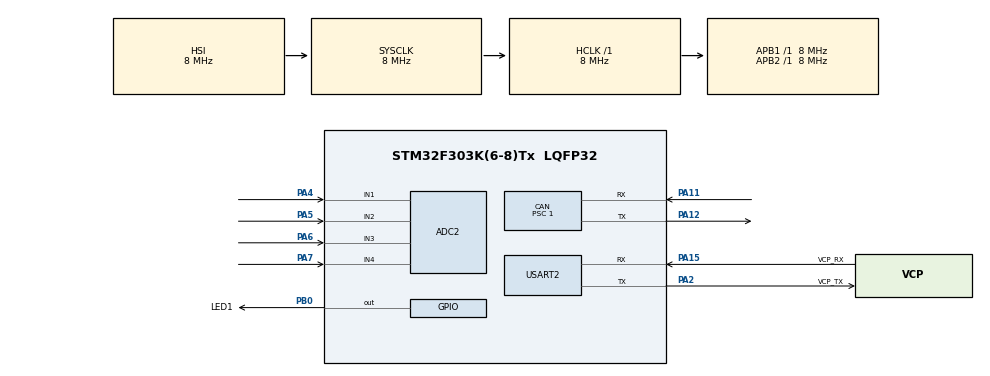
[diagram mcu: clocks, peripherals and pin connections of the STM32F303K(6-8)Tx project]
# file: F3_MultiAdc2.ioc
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ADC2.Channel-0\#ChannelRegularConversion=ADC_CHANNEL_4
ADC2.Channel-1\#ChannelRegularConversion=ADC_CHANNEL_3
ADC2.Channel-2\#ChannelRegularConversion=ADC_CHANNEL_2
ADC2.Channel-3\#ChannelRegularConversion=ADC_CHANNEL_1
ADC2.ClockPrescaler=ADC_CLOCK_SYNC_PCLK_DIV4
ADC2.ContinuousConvMode=ENABLE
ADC2.DMAContinuousRequests=ENABLE
ADC2.EOCSelection=ADC_EOC_SINGLE_CONV
ADC2.NbrOfConversion=4
ADC2.NbrOfConversionFlag=1
ADC2.Offset-0\#ChannelRegularConversion=0
ADC2.Offset-1\#ChannelRegularConversion=0
ADC2.Offset-2\#ChannelRegularConversion=0
ADC2.Offset-3\#ChannelRegularConversion=0
ADC2.OffsetNumber-0\#ChannelRegularConversion=ADC_OFFSET_NONE
ADC2.OffsetNumber-1\#ChannelRegularConversion=ADC_OFFSET_NONE
ADC2.OffsetNumber-2\#ChannelRegularConversion=ADC_OFFSET_NONE
ADC2.OffsetNumber-3\#ChannelRegularConversion=ADC_OFFSET_NONE
ADC2.Rank-0\#ChannelRegularConversion=1
ADC2.Rank-1\#ChannelRegularConversion=2
ADC2.Rank-2\#ChannelRegularConversion=3
ADC2.Rank-3\#ChannelRegularConversion=4
ADC2.SamplingTime-0\#ChannelRegularConversion=ADC_SAMPLETIME_61CYCLES_5
ADC2.SamplingTime-1\#ChannelRegularConversion=ADC_SAMPLETIME_61CYCLES_5
ADC2.SamplingTime-2\#ChannelRegularConversion=ADC_SAMPLETIME_61CYCLES_5
ADC2.SamplingTime-3\#ChannelRegularConversion=ADC_SAMPLETIME_61CYCLES_5
ADC2.SamplingTimeOPAMP-1\#ChannelRegularConversion=ADC_SAMPLETIME_1CYCLE_5
ADC2.SamplingTimeOPAMP-2\#ChannelRegularConversion=ADC_SAMPLETIME_1CYCLE_5
ADC2.SamplingTimeOPAMP-3\#ChannelRegularConversion=ADC_SAMPLETIME_1CYCLE_5
ADC2.SubFamily=STM32F303x8
CAN.BS1=CAN_BS1_11TQ
CAN.BS2=CAN_BS2_4TQ
CAN.CalculateBaudRate=500000
CAN.CalculateTimeBit=2000
CAN.CalculateTimeQuantum=125.0
CAN.Prescaler=1
Dma.ADC2.0.Direction=DMA_PERIPH_TO_MEMORY
Dma.ADC2.0.Instance=DMA1_Channel2
Dma.ADC2.0.MemDataAlignment=DMA_MDATAALIGN_HALFWORD
Dma.ADC2.0.MemInc=DMA_MINC_ENABLE
Dma.ADC2.0.Mode=DMA_CIRCULAR
Dma.ADC2.0.PeriphDataAlignment=DMA_PDATAALIGN_HALFWORD
Dma.ADC2.0.PeriphInc=DMA_PINC_DISABLE
Dma.ADC2.0.Priority=DMA_PRIORITY_LOW
Dma.Request0=ADC2
Mcu.Family=STM32F3
Mcu.Name=STM32F303K(6-8)Tx
Mcu.Package=LQFP32
NVIC.DMA1_Channel2_IRQn=true\:0\:0\:false\:false\:true\:false\:true\:true
NVIC.PriorityGroup=NVIC_PRIORITYGROUP_4
PA11.Mode=CAN_Activate
PA11.Signal=CAN_RX
PA12.Mode=CAN_Activate
PA12.Signal=CAN_TX
PA13.GPIO_Label=SWDIO
PA13.Mode=Serial_Wire
PA13.Signal=SYS_JTMS-SWDIO
PA14.GPIO_Label=SWCLK
PA14.Mode=Serial_Wire
PA14.Signal=SYS_JTCK-SWCLK
PA15.GPIO_Label=VCP_RX
PA15.Mode=Asynchronous
PA15.Signal=USART2_RX
PA2.GPIO_Label=VCP_TX
PA2.Mode=Asynchronous
PA2.Signal=USART2_TX
PA4.Mode=IN1-Single-Ended
PA4.Signal=ADC2_IN1
PA5.Mode=IN2-Single-Ended
PA5.Signal=ADC2_IN2
PA6.Mode=IN3-Single-Ended
PA6.Signal=ADC2_IN3
PA7.Mode=IN4-Single-Ended
PA7.Signal=ADC2_IN4
PB0.GPIO_Label=LED1
PB0.Signal=GPIO_Output
PF0\ /\ OSC_IN.GPIO_Label=MCO
PF0\ /\ OSC_IN.Mode=HSE-External-Clock-Source
PF0\ /\ OSC_IN.Signal=RCC_OSC_IN
ProjectManager.HeapSize=0x200
ProjectManager.StackSize=0x400
ProjectManager.TargetToolchain=STM32CubeIDE
RCC.AHBFreq_Value=8000000
RCC.APB1Freq_Value=8000000
RCC.APB2Freq_Value=8000000
RCC.CortexFreq_Value=8000000
RCC.HSE_VALUE=8000000
RCC.HSI_VALUE=8000000
RCC.SYSCLKFreq_VALUE=8000000
USART2.VirtualMode-Asynchronous=VM_ASYNC
board=NUCLEO-F303K8

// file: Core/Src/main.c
/* USER CODE BEGIN Header */
/**ロボ�??��ス?��?スト基板の可変抵抗�??��値をCANで送ります�??
  ******************************************************************************
  * @file           : main.c
  * @brief          : Main program body
  ******************************************************************************
  * @attention
  *
  * Copyright (c) 2024 STMicroelectronics.
  * All rights reserved.
  *
  * This software is licensed under terms that can be found in the LICENSE file
  * in the root directory of this software component.
  * If no LICENSE file comes with this software, it is provided AS-IS.
  *
  ******************************************************************************
  */
/* USER CODE END Header */
#include "main.h"

/* USER CODE BEGIN PTD */
CAN_TxHeaderTypeDef TxHeader;
/* USER CODE END PTD */

ADC_HandleTypeDef hadc2;
DMA_HandleTypeDef hdma_adc2;

CAN_HandleTypeDef hcan;

UART_HandleTypeDef huart2;

/* USER CODE BEGIN PV */
uint16_t adcvalue[4];
uint32_t TxMailbox;
uint8_t TxData[8];
/* USER CODE END PV */

void SystemClock_Config(void);
static void MX_GPIO_Init(void);
static void MX_DMA_Init(void);
static void MX_USART2_UART_Init(void);
static void MX_ADC2_Init(void);
static void MX_CAN_Init(void);

int main(void)
{

  /* MCU Configuration--------------------------------------------------------*/

  /* Reset of all peripherals, Initializes the Flash interface and the Systick. */
  HAL_Init();

  /* Configure the system clock */
  SystemClock_Config();

  /* Initialize all configured peripherals */
  MX_GPIO_Init();
  MX_DMA_Init();
  MX_USART2_UART_Init();
  MX_ADC2_Init();
  MX_CAN_Init();
  /* USER CODE BEGIN 2 */
  HAL_ADCEx_Calibration_Start(&hadc2, ADC_SINGLE_ENDED);

  uint16_t result[8] = {0};

  HAL_ADC_Start_DMA(&hadc2, (uint32_t *)&result, 4);
  HAL_CAN_Start(&hcan);
  /* USER CODE END 2 */

  /* Infinite loop */
  /* USER CODE BEGIN WHILE */
  while (1)
  {
	  for(int i=0;i<4;i++){
		  adcvalue[i]=result[i];
	  }
	  if(0 < HAL_CAN_GetTxMailboxesFreeLevel(&hcan)){//もしメールボックスに空きがあれば
	      TxHeader.StdId = 0x100;                 // CAN ID
	      TxHeader.RTR = CAN_RTR_DATA;            // フレー??��?��?タイプ�???��?��??��?��?ータフレー??��?��?
	      TxHeader.IDE = CAN_ID_STD;              // 標準ID(11???��?��??��?��??��?��?��???��?��?)
	      TxHeader.DLC = 8;                       // ??��?��?ータ長は8バイトに
	      TxHeader.TransmitGlobalTime = DISABLE;  // ???
	      TxData[0] = adcvalue[0];//送信??��?��?ータを�???��?��??��?��?
	      TxData[1] = adcvalue[1];
	      TxData[2] = adcvalue[2];
	      TxData[3] = adcvalue[3];
	      HAL_CAN_AddTxMessage(&hcan, &TxHeader, TxData, &TxMailbox);//TxDataをTxHeaderの設定�???��?��りに送信する
	  }
	  HAL_GPIO_WritePin(LED1_GPIO_Port,LED1_Pin,GPIO_PIN_SET);
	  HAL_Delay(500);
	  HAL_GPIO_WritePin(LED1_GPIO_Port,LED1_Pin,GPIO_PIN_RESET);
	  HAL_Delay(500);

    /* USER CODE END WHILE */

  }
}

void SystemClock_Config(void)
{
  RCC_OscInitTypeDef RCC_OscInitStruct = {0};
  RCC_ClkInitTypeDef RCC_ClkInitStruct = {0};

  /** Initializes the RCC Oscillators according to the specified parameters
  * in the RCC_OscInitTypeDef structure.
  */
  RCC_OscInitStruct.OscillatorType = RCC_OSCILLATORTYPE_HSI;
  RCC_OscInitStruct.HSIState = RCC_HSI_ON;
  RCC_OscInitStruct.HSICalibrationValue = RCC_HSICALIBRATION_DEFAULT;
  RCC_OscInitStruct.PLL.PLLState = RCC_PLL_NONE;
  if (HAL_RCC_OscConfig(&RCC_OscInitStruct) != HAL_OK)
  {
    Error_Handler();
  }

  /** Initializes the CPU, AHB and APB buses clocks
  */
  RCC_ClkInitStruct.ClockType = RCC_CLOCKTYPE_HCLK|RCC_CLOCKTYPE_SYSCLK
                              |RCC_CLOCKTYPE_PCLK1|RCC_CLOCKTYPE_PCLK2;
  RCC_ClkInitStruct.SYSCLKSource = RCC_SYSCLKSOURCE_HSI;
  RCC_ClkInitStruct.AHBCLKDivider = RCC_SYSCLK_DIV1;
  RCC_ClkInitStruct.APB1CLKDivider = RCC_HCLK_DIV1;
  RCC_ClkInitStruct.APB2CLKDivider = RCC_HCLK_DIV1;

  if (HAL_RCC_ClockConfig(&RCC_ClkInitStruct, FLASH_LATENCY_0) != HAL_OK)
  {
    Error_Handler();
  }
}

static void MX_ADC2_Init(void)
{

  ADC_ChannelConfTypeDef sConfig = {0};

  /** Common config
  */
  hadc2.Instance = ADC2;
  hadc2.Init.ClockPrescaler = ADC_CLOCK_SYNC_PCLK_DIV4;
  hadc2.Init.Resolution = ADC_RESOLUTION_12B;
  hadc2.Init.ScanConvMode = ADC_SCAN_ENABLE;
  hadc2.Init.ContinuousConvMode = ENABLE;
  hadc2.Init.DiscontinuousConvMode = DISABLE;
  hadc2.Init.ExternalTrigConvEdge = ADC_EXTERNALTRIGCONVEDGE_NONE;
  hadc2.Init.ExternalTrigConv = ADC_SOFTWARE_START;
  hadc2.Init.DataAlign = ADC_DATAALIGN_RIGHT;
  hadc2.Init.NbrOfConversion = 4;
  hadc2.Init.DMAContinuousRequests = ENABLE;
  hadc2.Init.EOCSelection = ADC_EOC_SINGLE_CONV;
  hadc2.Init.LowPowerAutoWait = DISABLE;
  hadc2.Init.Overrun = ADC_OVR_DATA_OVERWRITTEN;
  if (HAL_ADC_Init(&hadc2) != HAL_OK)
  {
    Error_Handler();
  }

  /** Configure Regular Channel
  */
  sConfig.Channel = ADC_CHANNEL_4;
  sConfig.Rank = ADC_REGULAR_RANK_1;
  sConfig.SingleDiff = ADC_SINGLE_ENDED;
  sConfig.SamplingTime = ADC_SAMPLETIME_61CYCLES_5;
  sConfig.OffsetNumber = ADC_OFFSET_NONE;
  sConfig.Offset = 0;
  if (HAL_ADC_ConfigChannel(&hadc2, &sConfig) != HAL_OK)
  {
    Error_Handler();
  }

  /** Configure Regular Channel
  */
  sConfig.Channel = ADC_CHANNEL_3;
  sConfig.Rank = ADC_REGULAR_RANK_2;
  if (HAL_ADC_ConfigChannel(&hadc2, &sConfig) != HAL_OK)
  {
    Error_Handler();
  }

  /** Configure Regular Channel
  */
  sConfig.Channel = ADC_CHANNEL_2;
  sConfig.Rank = ADC_REGULAR_RANK_3;
  if (HAL_ADC_ConfigChannel(&hadc2, &sConfig) != HAL_OK)
  {
    Error_Handler();
  }

  /** Configure Regular Channel
  */
  sConfig.Channel = ADC_CHANNEL_1;
  sConfig.Rank = ADC_REGULAR_RANK_4;
  if (HAL_ADC_ConfigChannel(&hadc2, &sConfig) != HAL_OK)
  {
    Error_Handler();
  }

}

static void MX_CAN_Init(void)
{

  hcan.Instance = CAN;
  hcan.Init.Prescaler = 1;
  hcan.Init.Mode = CAN_MODE_NORMAL;
  hcan.Init.SyncJumpWidth = CAN_SJW_1TQ;
  hcan.Init.TimeSeg1 = CAN_BS1_11TQ;
  hcan.Init.TimeSeg2 = CAN_BS2_4TQ;
  hcan.Init.TimeTriggeredMode = DISABLE;
  hcan.Init.AutoBusOff = DISABLE;
  hcan.Init.AutoWakeUp = DISABLE;
  hcan.Init.AutoRetransmission = DISABLE;
  hcan.Init.ReceiveFifoLocked = DISABLE;
  hcan.Init.TransmitFifoPriority = DISABLE;
  if (HAL_CAN_Init(&hcan) != HAL_OK)
  {
    Error_Handler();
  }

}

static void MX_USART2_UART_Init(void)
{

  huart2.Instance = USART2;
  huart2.Init.BaudRate = 38400;
  huart2.Init.WordLength = UART_WORDLENGTH_8B;
  huart2.Init.StopBits = UART_STOPBITS_1;
  huart2.Init.Parity = UART_PARITY_NONE;
  huart2.Init.Mode = UART_MODE_TX_RX;
  huart2.Init.HwFlowCtl = UART_HWCONTROL_NONE;
  huart2.Init.OverSampling = UART_OVERSAMPLING_16;
  huart2.Init.OneBitSampling = UART_ONE_BIT_SAMPLE_DISABLE;
  huart2.AdvancedInit.AdvFeatureInit = UART_ADVFEATURE_NO_INIT;
  if (HAL_UART_Init(&huart2) != HAL_OK)
  {
    Error_Handler();
  }

}

static void MX_DMA_Init(void)
{

  /* DMA controller clock enable */
  __HAL_RCC_DMA1_CLK_ENABLE();

  /* DMA interrupt init */
  /* DMA1_Channel2_IRQn interrupt configuration */
  HAL_NVIC_SetPriority(DMA1_Channel2_IRQn, 0, 0);
  HAL_NVIC_EnableIRQ(DMA1_Channel2_IRQn);

}

static void MX_GPIO_Init(void)
{
  GPIO_InitTypeDef GPIO_InitStruct = {0};

  /* GPIO Ports Clock Enable */
  __HAL_RCC_GPIOF_CLK_ENABLE();
  __HAL_RCC_GPIOA_CLK_ENABLE();
  __HAL_RCC_GPIOB_CLK_ENABLE();

  /*Configure GPIO pin Output Level */
  HAL_GPIO_WritePin(LED1_GPIO_Port, LED1_Pin, GPIO_PIN_RESET);

  /*Configure GPIO pin : LED1_Pin */
  GPIO_InitStruct.Pin = LED1_Pin;
  GPIO_InitStruct.Mode = GPIO_MODE_OUTPUT_PP;
  GPIO_InitStruct.Pull = GPIO_NOPULL;
  GPIO_InitStruct.Speed = GPIO_SPEED_FREQ_LOW;
  HAL_GPIO_Init(LED1_GPIO_Port, &GPIO_InitStruct);

}

void Error_Handler(void)
{
  __disable_irq();
  while (1)
  {
  }
}
